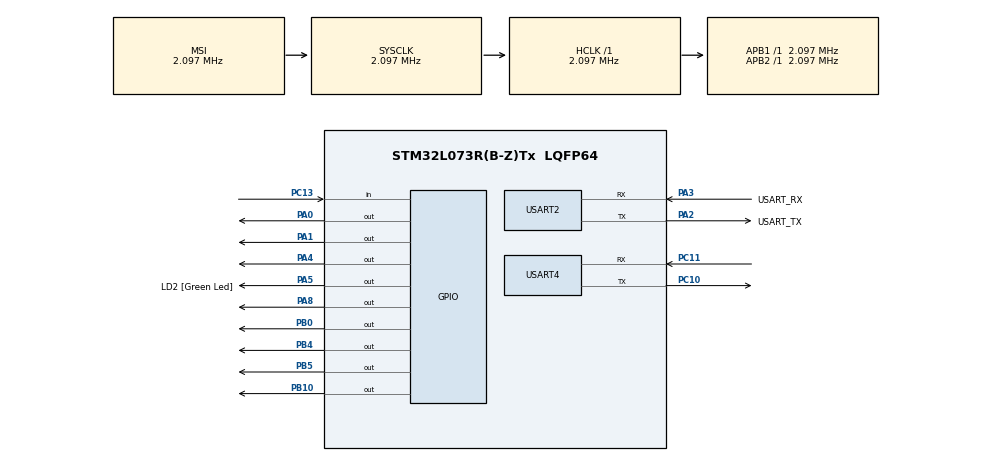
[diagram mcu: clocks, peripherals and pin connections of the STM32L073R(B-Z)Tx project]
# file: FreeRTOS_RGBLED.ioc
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FREERTOS.Mutexes01=uartMutex,Dynamic,NULL
FREERTOS.Tasks01=defaultTask,0,128,Thread1,Default,NULL,Dynamic,NULL,NULL;myTask02,-3,128,Thread2,Default,NULL,Dynamic,NULL,NULL
Mcu.Family=STM32L0
Mcu.Name=STM32L073R(B-Z)Tx
Mcu.Package=LQFP64
NVIC.TIM6_DAC_IRQn=true\:0\:0\:false\:false\:true\:false\:false\:true
NVIC.TimeBase=TIM6_DAC_IRQn
NVIC.TimeBaseIP=TIM6
PA0.Signal=GPIO_Output
PA1.Signal=GPIO_Output
PA13.GPIO_Label=TMS
PA13.Mode=Serial_Wire
PA13.Signal=SYS_SWDIO
PA14.GPIO_Label=TCK
PA14.Mode=Serial_Wire
PA14.Signal=SYS_SWCLK
PA2.GPIO_Label=USART_TX
PA2.Mode=Asynchronous
PA2.Signal=USART2_TX
PA3.GPIO_Label=USART_RX
PA3.Mode=Asynchronous
PA3.Signal=USART2_RX
PA4.Signal=GPIO_Output
PA5.GPIO_Label=LD2 [Green Led]
PA5.Signal=GPIO_Output
PA8.Signal=GPIO_Output
PB0.Signal=GPIO_Output
PB10.Signal=GPIO_Output
PB4.Signal=GPIO_Output
PB5.Signal=GPIO_Output
PC10.Mode=Asynchronous
PC10.Signal=USART4_TX
PC11.Mode=Asynchronous
PC11.Signal=USART4_RX
PC13.Signal=GPIO_Input
PC14-OSC32_IN.Mode=LSE-External-Oscillator
PC14-OSC32_IN.Signal=RCC_OSC32_IN
PC15-OSC32_OUT.Mode=LSE-External-Oscillator
PC15-OSC32_OUT.Signal=RCC_OSC32_OUT
PH0-OSC_IN.GPIO_Label=MCO
PH0-OSC_IN.Mode=HSE-External-Clock-Source
PH0-OSC_IN.Signal=RCC_OSC_IN
ProjectManager.HeapSize=0x200
ProjectManager.StackSize=0x400
ProjectManager.TargetToolchain=MDK-ARM V5
RCC.AHBFreq_Value=2097000
RCC.APB1Freq_Value=2097000
RCC.APB1TimFreq_Value=2097000
RCC.APB2Freq_Value=2097000
RCC.APB2TimFreq_Value=2097000
RCC.HSE_VALUE=8000000
RCC.HSI16_VALUE=16000000
RCC.HSI48_VALUE=48000000
RCC.HSI_VALUE=16000000
RCC.MSI_VALUE=2097000
RCC.SYSCLKFreq_VALUE=2097000
RCC.VCOOutputFreq_Value=48000000
USART2.VirtualMode-Asynchronous=VM_ASYNC
USART4.VirtualMode-Asynchronous=VM_ASYNC
VP_FREERTOS_VS_CMSIS_V1.Mode=CMSIS_V1
VP_SYS_VS_tim6.Mode=TIM6
board=NUCLEO-L073RZ

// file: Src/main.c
/* USER CODE BEGIN Header */
/**
  ******************************************************************************
  * @file           : main.c
  * @brief          : Main program body
  ******************************************************************************
  * @attention
  *
  * <h2><center>&copy; Copyright (c) 2020 STMicroelectronics.
  * All rights reserved.</center></h2>
  *
  * This software component is licensed by ST under Ultimate Liberty license
  * SLA0044, the "License"; You may not use this file except in compliance with
  * the License. You may obtain a copy of the License at:
  *                             www.st.com/SLA0044
  *
  ******************************************************************************
  */
/* USER CODE END Header */

#include "main.h"
#include "cmsis_os.h"

UART_HandleTypeDef huart2;
UART_HandleTypeDef huart4;

osThreadId defaultTaskHandle;
osThreadId myTask02Handle;
osMutexId uartMutexHandle;
/* USER CODE BEGIN PV */
osThreadId myTask03Handle;
/* USER CODE END PV */

void SystemClock_Config(void);
static void MX_GPIO_Init(void);
static void MX_USART2_UART_Init(void);
static void MX_USART4_UART_Init(void);
void Thread1(void const * argument);
void Thread2(void const * argument);

/* USER CODE BEGIN PFP */
void Thread3(void const * argument);
/* USER CODE END PFP */

int main(void)
{

  /* MCU Configuration--------------------------------------------------------*/

  /* Reset of all peripherals, Initializes the Flash interface and the Systick. */
  HAL_Init();

  /* Configure the system clock */
  SystemClock_Config();

  /* Initialize all configured peripherals */
  MX_GPIO_Init();
  MX_USART2_UART_Init();
  MX_USART4_UART_Init();

  /* Create the mutex(es) */
  /* definition and creation of uartMutex */
  osMutexDef(uartMutex);
  uartMutexHandle = osMutexCreate(osMutex(uartMutex));

  /* Create the thread(s) */
  /* definition and creation of defaultTask */
  osThreadDef(defaultTask, Thread1, osPriorityNormal, 0, 128);
  defaultTaskHandle = osThreadCreate(osThread(defaultTask), NULL);

  /* definition and creation of myTask02 */
  osThreadDef(myTask02, Thread2, osPriorityIdle, 0, 128);
  myTask02Handle = osThreadCreate(osThread(myTask02), NULL);

  /* USER CODE BEGIN RTOS_THREADS */
  /* add threads, ... */
	/* definition and creation of myTask03 */
  osThreadDef(myTask03, Thread3, osPriorityIdle, 0, 128);
  myTask03Handle = osThreadCreate(osThread(myTask03), NULL);
  /* USER CODE END RTOS_THREADS */

  /* Start scheduler */
  osKernelStart();

  /* We should never get here as control is now taken by the scheduler */
  /* Infinite loop */
  while (1)
  {

  }
}

void SystemClock_Config(void)
{
  RCC_OscInitTypeDef RCC_OscInitStruct = {0};
  RCC_ClkInitTypeDef RCC_ClkInitStruct = {0};
  RCC_PeriphCLKInitTypeDef PeriphClkInit = {0};

  /** Configure the main internal regulator output voltage
  */
  __HAL_PWR_VOLTAGESCALING_CONFIG(PWR_REGULATOR_VOLTAGE_SCALE1);
  /** Initializes the CPU, AHB and APB busses clocks
  */
  RCC_OscInitStruct.OscillatorType = RCC_OSCILLATORTYPE_MSI;
  RCC_OscInitStruct.MSIState = RCC_MSI_ON;
  RCC_OscInitStruct.MSICalibrationValue = 0;
  RCC_OscInitStruct.MSIClockRange = RCC_MSIRANGE_5;
  RCC_OscInitStruct.PLL.PLLState = RCC_PLL_NONE;
  if (HAL_RCC_OscConfig(&RCC_OscInitStruct) != HAL_OK)
  {
    Error_Handler();
  }
  /** Initializes the CPU, AHB and APB busses clocks
  */
  RCC_ClkInitStruct.ClockType = RCC_CLOCKTYPE_HCLK|RCC_CLOCKTYPE_SYSCLK
                              |RCC_CLOCKTYPE_PCLK1|RCC_CLOCKTYPE_PCLK2;
  RCC_ClkInitStruct.SYSCLKSource = RCC_SYSCLKSOURCE_MSI;
  RCC_ClkInitStruct.AHBCLKDivider = RCC_SYSCLK_DIV1;
  RCC_ClkInitStruct.APB1CLKDivider = RCC_HCLK_DIV1;
  RCC_ClkInitStruct.APB2CLKDivider = RCC_HCLK_DIV1;

  if (HAL_RCC_ClockConfig(&RCC_ClkInitStruct, FLASH_LATENCY_0) != HAL_OK)
  {
    Error_Handler();
  }
  PeriphClkInit.PeriphClockSelection = RCC_PERIPHCLK_USART2;
  PeriphClkInit.Usart2ClockSelection = RCC_USART2CLKSOURCE_PCLK1;
  if (HAL_RCCEx_PeriphCLKConfig(&PeriphClkInit) != HAL_OK)
  {
    Error_Handler();
  }
}

static void MX_USART2_UART_Init(void)
{

  huart2.Instance = USART2;
  huart2.Init.BaudRate = 115200;
  huart2.Init.WordLength = UART_WORDLENGTH_8B;
  huart2.Init.StopBits = UART_STOPBITS_1;
  huart2.Init.Parity = UART_PARITY_NONE;
  huart2.Init.Mode = UART_MODE_TX_RX;
  huart2.Init.HwFlowCtl = UART_HWCONTROL_NONE;
  huart2.Init.OverSampling = UART_OVERSAMPLING_16;
  huart2.Init.OneBitSampling = UART_ONE_BIT_SAMPLE_DISABLE;
  huart2.AdvancedInit.AdvFeatureInit = UART_ADVFEATURE_NO_INIT;
  if (HAL_UART_Init(&huart2) != HAL_OK)
  {
    Error_Handler();
  }

}

static void MX_USART4_UART_Init(void)
{

  huart4.Instance = USART4;
  huart4.Init.BaudRate = 115200;
  huart4.Init.WordLength = UART_WORDLENGTH_8B;
  huart4.Init.StopBits = UART_STOPBITS_1;
  huart4.Init.Parity = UART_PARITY_NONE;
  huart4.Init.Mode = UART_MODE_TX_RX;
  huart4.Init.HwFlowCtl = UART_HWCONTROL_NONE;
  huart4.Init.OverSampling = UART_OVERSAMPLING_16;
  huart4.Init.OneBitSampling = UART_ONE_BIT_SAMPLE_DISABLE;
  huart4.AdvancedInit.AdvFeatureInit = UART_ADVFEATURE_NO_INIT;
  if (HAL_UART_Init(&huart4) != HAL_OK)
  {
    Error_Handler();
  }

}

static void MX_GPIO_Init(void)
{
  GPIO_InitTypeDef GPIO_InitStruct = {0};

  /* GPIO Ports Clock Enable */
  __HAL_RCC_GPIOC_CLK_ENABLE();
  __HAL_RCC_GPIOH_CLK_ENABLE();
  __HAL_RCC_GPIOA_CLK_ENABLE();
  __HAL_RCC_GPIOB_CLK_ENABLE();

  /*Configure GPIO pin Output Level */
  HAL_GPIO_WritePin(GPIOA, GPIO_PIN_0|GPIO_PIN_1|GPIO_PIN_4|LD2_Pin
                          |GPIO_PIN_8, GPIO_PIN_RESET);

  /*Configure GPIO pin Output Level */
  HAL_GPIO_WritePin(GPIOB, GPIO_PIN_0|GPIO_PIN_10|GPIO_PIN_4|GPIO_PIN_5, GPIO_PIN_RESET);

  /*Configure GPIO pin : PC13 */
  GPIO_InitStruct.Pin = GPIO_PIN_13;
  GPIO_InitStruct.Mode = GPIO_MODE_INPUT;
  GPIO_InitStruct.Pull = GPIO_NOPULL;
  HAL_GPIO_Init(GPIOC, &GPIO_InitStruct);

  /*Configure GPIO pins : PA0 PA1 PA4 LD2_Pin
                           PA8 */
  GPIO_InitStruct.Pin = GPIO_PIN_0|GPIO_PIN_1|GPIO_PIN_4|LD2_Pin
                          |GPIO_PIN_8;
  GPIO_InitStruct.Mode = GPIO_MODE_OUTPUT_PP;
  GPIO_InitStruct.Pull = GPIO_NOPULL;
  GPIO_InitStruct.Speed = GPIO_SPEED_FREQ_LOW;
  HAL_GPIO_Init(GPIOA, &GPIO_InitStruct);

  /*Configure GPIO pins : PB0 PB10 PB4 PB5 */
  GPIO_InitStruct.Pin = GPIO_PIN_0|GPIO_PIN_10|GPIO_PIN_4|GPIO_PIN_5;
  GPIO_InitStruct.Mode = GPIO_MODE_OUTPUT_PP;
  GPIO_InitStruct.Pull = GPIO_NOPULL;
  GPIO_InitStruct.Speed = GPIO_SPEED_FREQ_LOW;
  HAL_GPIO_Init(GPIOB, &GPIO_InitStruct);

}

void Thread1(void const * argument)
{
  /* USER CODE BEGIN 5 */
	uint8_t txData[20] = "Hello from thread1\r\n";
  /* Infinite loop */
  for(;;)
  {
		HAL_GPIO_WritePin(GPIOA, GPIO_PIN_0, GPIO_PIN_RESET);
		HAL_GPIO_WritePin(GPIOA, GPIO_PIN_1, GPIO_PIN_SET);
		xSemaphoreTake(uartMutexHandle, portMAX_DELAY);
		HAL_UART_Transmit(&huart2, txData, 20, 5);
		xSemaphoreGive(uartMutexHandle);
    //HAL_Delay(1000);
		osDelay(1000);
		HAL_GPIO_WritePin(GPIOA, GPIO_PIN_1, GPIO_PIN_RESET);
		//HAL_Delay(1000);
		osDelay(1000);
  }
  /* USER CODE END 5 */
}

void Thread2(void const * argument)
{
  /* USER CODE BEGIN Thread2 */
	uint8_t txData[20] = "Hello from thread2\r\n";
  /* Infinite loop */
  for(;;)
  {
		if (HAL_GPIO_ReadPin(GPIOC,GPIO_PIN_13) == GPIO_PIN_RESET)
		{
			xTaskNotify(myTask03Handle, 0x01, eSetBits);
			HAL_GPIO_WritePin(GPIOB, GPIO_PIN_5, GPIO_PIN_RESET);
			HAL_GPIO_WritePin(GPIOB, GPIO_PIN_4, GPIO_PIN_SET);
			xSemaphoreTake(uartMutexHandle, portMAX_DELAY);
			HAL_UART_Transmit(&huart2, txData, 20, 5);
			xSemaphoreGive(uartMutexHandle);
			//HAL_Delay(1000);
			osDelay(500);
			HAL_GPIO_WritePin(GPIOB, GPIO_PIN_4, GPIO_PIN_RESET);
			//HAL_Delay(1000);
			osDelay(500);
		}
  }
  /* USER CODE END Thread2 */
}

/* USER CODE END Header_Thread3 */
void Thread3(void const * argument)
{
  /* USER CODE BEGIN Thread3 */
	uint8_t txData[20] = "Hello from thread3\r\n";
	uint32_t notifValue;
  /* Infinite loop */
  for(;;)
  {
		xTaskNotifyWait(pdFALSE, 0xFF, &notifValue, portMAX_DELAY);
		if ((notifValue & 0x01) != 0x00)
		{
			xSemaphoreTake(uartMutexHandle, portMAX_DELAY);
		  HAL_UART_Transmit(&huart2, txData, 20, 5);
		  xSemaphoreGive(uartMutexHandle);
		}
		//osDelay(1500);

  }
  /* USER CODE END Thread2 */
}

 /**
  * @brief  Period elapsed callback in non blocking mode
  * @note   This function is called  when TIM6 interrupt took place, inside
  * HAL_TIM_IRQHandler(). It makes a direct call to HAL_IncTick() to increment
  * a global variable "uwTick" used as application time base.
  * @param  htim : TIM handle
  * @retval None
  */
void HAL_TIM_PeriodElapsedCallback(TIM_HandleTypeDef *htim)
{
  if (htim->Instance == TIM6) {
    HAL_IncTick();
  }
}

void Error_Handler(void)
{
}

/************************ (C) COPYRIGHT STMicroelectronics *****END OF FILE****/
